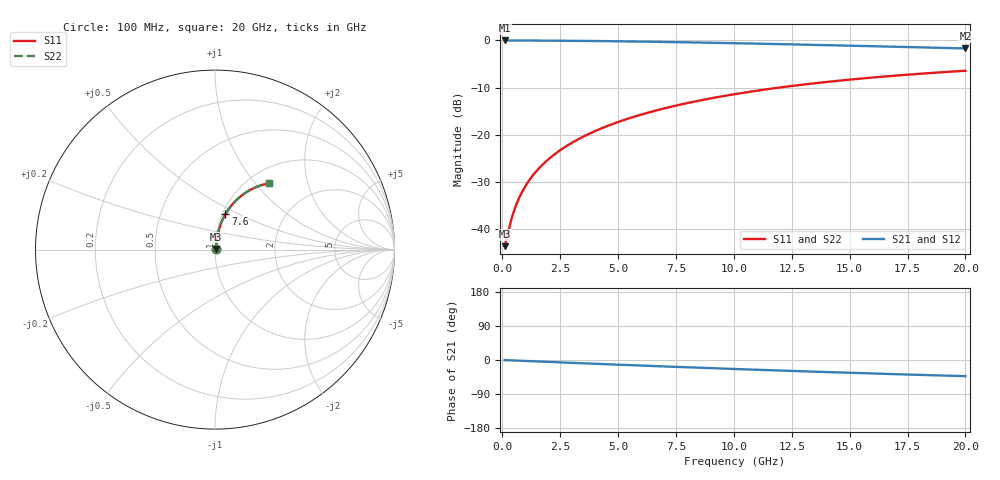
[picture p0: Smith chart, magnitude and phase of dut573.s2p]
! Touchstone file exported from HFSS 2024.1.0
!  File:  C:/UserFiles/LocalFiles/RDL_TSV_Batchsim/temp_RDL_top_573_1779681822.aedt
!  Generated:  12:05:45 PM May 25, 2026
!  Design:  RDL_top
!  Project:  temp_RDL_top_573_1779681822
!  Setup:  Setup1
!  Solution:  Sweep
! Variables:
!  dtsv = 10.80580581um
!  hbump = 3um
!  htsv = 64.72um
!  ldown = 100um
!  lrdl = 522.95um
!  p = 40
!  p1 = 53.99um
!  rhole = 1um
!  t = 450um
!  tdown = 3.915915916um
!  trdl = 2.15um
!  wdown = 15.38538539um
!  wrdl = 14.78um
# GHz S MA R 50.000000
! Terminal data exported
! Port[1] = Box2_T1
! Port[2] = Box2_T2
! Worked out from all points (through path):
!   200 points, 100 MHz to 20 GHz, reference 50 ohm
!   highest |S21| = -0.05 dB at 100 MHz (marker M1); lowest = -1.7 dB at 20 GHz (marker M2)
!   group delay of S21, straight-line fit = 5.93 ps
!   lowest |S11| = -43.5 dB at 100 MHz (marker M3), VSWR 1.01, Z = 50.6 + j0.29 ohm
!   |S11| at or under -10 dB: start of sweep to 11.98 GHz
!   |S22| runs from -43.5 to -6.5 dB; largest |S21 - S12| = 3.6e-15
!   S11 on the Smith chart (normalised r, x): 100 MHz: 1.01, +0.01; 7.6 GHz: 1.03, +0.43; 20 GHz: 1.23, +1.18
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0.1  0.006652 25.5  0.994 -0.3  0.994 -0.3  0.006652 25.5
! Gamma 0 0 0 0
! Port Impedance 50 0 50 0
0.3  0.01056 54.0  0.9938 -0.8  0.9938 -0.8  0.01056 54.0
0.4  0.01301 60.7  0.9936 -1.0  0.9936 -1.0  0.01301 60.7
0.5  0.01558 65.1  0.9935 -1.3  0.9935 -1.3  0.01558 65.1
0.6  0.01818 68.2  0.9933 -1.6  0.9933 -1.6  0.01818 68.2
0.7  0.02082 70.4  0.993 -1.8  0.993 -1.8  0.02082 70.4
0.9  0.0261 73.4  0.9926 -2.3  0.9926 -2.3  0.0261 73.4
1.2  0.03406 76.1  0.9919 -3.1  0.9919 -3.1  0.03406 76.1
1.4  0.03937 77.2  0.9913 -3.6  0.9913 -3.6  0.03937 77.2
1.7  0.04736 78.3  0.9905 -4.3  0.9905 -4.3  0.04736 78.3
2.2  0.06075 79.2  0.9889 -5.6  0.9889 -5.6  0.06075 79.2
2.8  0.07691 79.5  0.9865 -7.0  0.9865 -7.0  0.0769 79.5
3.5  0.09584 79.3  0.9832 -8.7  0.9832 -8.7  0.09584 79.3
4.2  0.1148 78.7  0.9792 -10.4  0.9792 -10.4  0.1148 78.7
5  0.1366 77.8  0.9741 -12.4  0.9741 -12.4  0.1365 77.7
5.9  0.1609 76.5  0.9676 -14.5  0.9676 -14.5  0.1609 76.4
6.8  0.1851 75.0  0.9603 -16.6  0.9603 -16.6  0.1851 75.0
7.6  0.2064 73.6  0.9534 -18.4  0.9534 -18.4  0.2063 73.6
10.1  0.2707 69.0  0.9292 -23.9  0.9292 -23.9  0.2706 68.9
13.4  0.3486 62.7  0.8936 -30.7  0.8936 -30.7  0.3485 62.6
16.7  0.417 56.6  0.8562 -36.9  0.8562 -36.9  0.4168 56.6
20  0.4756 51.0  0.8189 -42.6  0.8189 -42.6  0.4753 51.0
